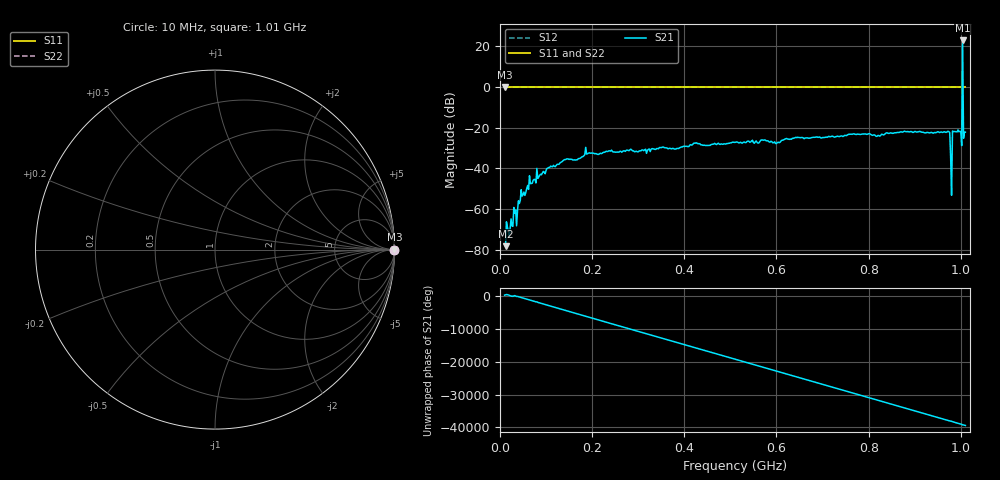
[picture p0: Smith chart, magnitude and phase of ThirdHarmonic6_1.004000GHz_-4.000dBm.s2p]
! 8/16/2025 8:09:07 AM
! C:\ANRITSUVNA\TEMP\TEMP.S2P
! CHANNEL.1
! TR.MEASUREMENT
! RAW.DATA
! RF.CORRECTION.OFF
! AVERAGING.OFF
! IF.BANDWIDTH: 5KHZ
! SWEEPTYPE:  FREQ.SWEEP(Linear)
! Reference Plane Port Info
! PORT:  PORT1  PORT2
! DISTANCE:  0  m  0  m
! TIME:  0  s  0  s
! PHASE.OFFSET:  0  deg.  0  deg.
! LOSS:  0  dB  0  dB
! REF.LOSS:  0  dB  0  dB
! REF.FREQ:  0  Hz  0  Hz
! Power Info
! POWER:  -20  dBm  -20  dBm
! EFF.POWER:  -20  dBm  -20  dBm
! SOURCE.ATTEN:  0  dB  0  dB
! TEST.ATTEN:  0  dB  0  dB
# GHZ S RI R 50.0
! FREQ.GHZ  S11RE  S11IM  S21RE  S21IM  S12RE  S12IM  S22RE  S22IM
!; PortSelection: Port_12
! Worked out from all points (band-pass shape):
!   501 points, 10 MHz to 1.01 GHz, reference 50 ohm
!   highest |S21| = 22.87 dB at 1.004 GHz (marker M1); lowest = -78.2 dB at 12 MHz (marker M2)
!   |S21| within 3 dB of the highest: 1.003884 GHz to 1.004125 GHz (240.8 kHz wide, 0.024 % of centre)
!   lowest |S11| = 0.0 dB at 10 MHz (marker M3)
!   |S11| at or under -10 dB: nowhere
!   |S22| runs from 0.0 to 0.0 dB; largest |S21 - S12| = 13
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0.01  1 0  -0.000114 7.1e-05  1 0  1 0
0.012  1 0  -7.65e-05 -9.59e-05  1 0  1 0
0.04  1 0  0.00113 0.00113  1 0  1 0
0.044  1 0  -0.000672 -0.00149  1 0  1 0
0.068  1 0  0.00365 -0.00217  1 0  1 0
0.14  1 0  0.00408 -0.016  1 0  1 0
0.178  1 0  -0.0187 -0.0046  1 0  1 0
0.19  1 0  0.00831 0.0214  1 0  1 0
0.344  1 0  0.0302 -0.00415  1 0  1 0
0.51  1 0  -0.0423 0.0103  1 0  1 0
0.678  1 0  -0.012 -0.0565  1 0  1 0
0.844  1 0  0.0363 0.0625  1 0  1 0
0.972  1 0  0.047 -0.0668  1 0  1 0
0.974  1 0  -0.0585 -0.0541  1 0  1 0
0.976  1 0  -0.0619 0.0452  1 0  1 0
0.982  1 0  -0.0135 -0.0818  1 0  1 0
0.986  1 0  -0.0139 0.0793  1 0  1 0
0.998  1 0  0.0752 -0.031  1 0  1 0
1  1 0  -0.0177 -0.0782  1 0  1 0
1.004  1 0  12.81 5.43  1 0  1 0
1.008  1 0  0.0303 -0.0714  1 0  1 0
1.01  1 0  -0.0652 -0.0424  1 0  1 0
